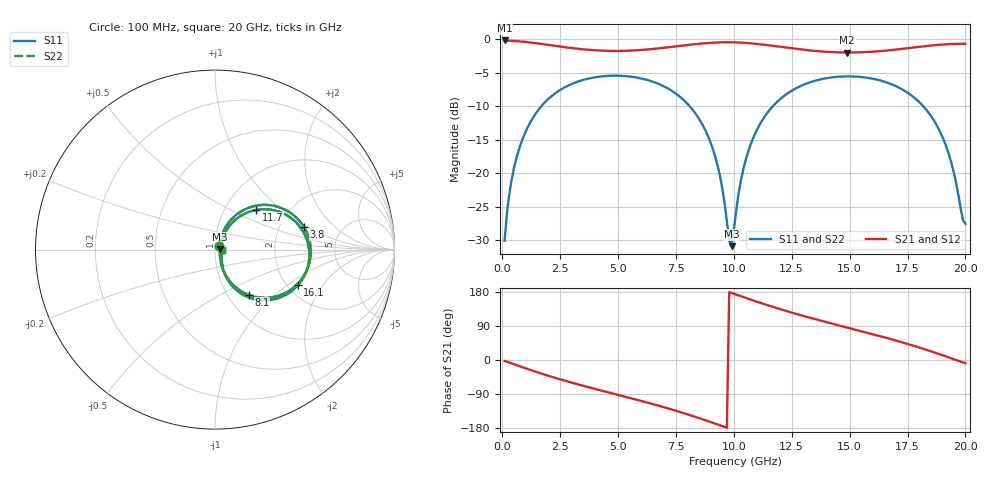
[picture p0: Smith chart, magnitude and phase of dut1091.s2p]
! Touchstone file exported from HFSS 2026.1.0
!  File:  C:/ffzhzh/LocalFiles/Ansys_Project_Files/temp_train_TSV_RDL_1091_1783301936_38704.aedt
!  Generated:  09:52:33 AM Jul  6, 2026
!  Design:  TSV_RDL
!  Project:  temp_train_TSV_RDL_1091_1783301936_38704
! Variables:
!  h_bsmrdl = 5.65um
!  h_ox = 20um
!  h_rdl = 5um
!  h_sub = 53.75um
!  h_tmrdl = 3.99um
!  h_tsv = 53.75um
!  h_via = 3um
!  l_bsmrdl = 973.44um
!  l_sub = 6571.57um
!  l_tmrdl = 778.95um
!  m_sub = 200um
!  pitch = 51.23um
!  r_tsv = 14.46um
!  s_tmrdl = 10um
!  w_bsmrdl = 16.61um
!  w_sub = 500um
!  w_tmrdl = 28.54um
!  x_tsv_center1 = 793.22um
!  x_tsv_center2 = 1783.27um
!  x_tsv_center3 = 2590.76um
!  x_tsv_center4 = 3580.81um
!  x_tsv_center5 = 4388.3um
!  x_tsv_center6 = 5378.35um
# GHz S MA R 50.000000
! Terminal data exported
! Port[1] = TM_RDL1_1_T1
! Port[2] = TM_RDL5_1_T1
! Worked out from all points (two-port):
!   200 points, 100 MHz to 20 GHz, reference 50 ohm
!   highest |S21| = -0.19 dB at 100 MHz (marker M1); lowest = -2.0 dB at 14.9 GHz (marker M2)
!   |S21| within 3 dB of the highest: start of sweep to end of sweep
!   lowest |S11| = -30.9 dB at 9.9 GHz (marker M3), VSWR 1.06, Z = 52.9 + j0.321 ohm
!   |S11| at or under -10 dB: start of sweep to 1.691 GHz; 8.088 GHz to 11.69 GHz (3.599 GHz wide, 36.4 % of centre); 18.18 GHz to end of sweep
!   |S22| runs from -30.8 to -5.5 dB; largest |S21 - S12| = 1.7e-14
!   S11 on the Smith chart (normalised r, x): 100 MHz: 1.04, +0.05; 3.8 GHz: 2.73, +0.93; 8.1 GHz: 1.25, -0.70; 11.7 GHz: 1.40, +0.69; 16.1 GHz: 2.27, -1.21; 20 GHz: 1.09, -0.01
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0.1  0.03125 44.1  0.9782 -2.3  0.9782 -2.3  0.03125 44.1
! Gamma 0 0 0 0
! Port Impedance 50 0 50 0
0.3  0.06908 63.0  0.974 -6.8  0.974 -6.8  0.06908 63.0
0.5  0.108 65.4  0.9694 -11.1  0.9694 -11.1  0.108 65.4
1.1  0.2202 59.2  0.9491 -23.9  0.9491 -23.9  0.2202 59.2
2.1  0.372 42.1  0.9005 -43.7  0.9005 -43.7  0.372 42.1
3.5  0.4967 18.9  0.8397 -68.2  0.8397 -68.2  0.4967 18.9
3.8  0.5113 14.2  0.8311 -73.1  0.8311 -73.1  0.5113 14.2
5.3  0.5302 -8.5  0.8188 -96.8  0.8188 -96.8  0.5302 -8.4
6.8  0.4596 -31.7  0.8552 -121.4  0.8552 -121.4  0.4596 -31.7
8.1  0.3146 -53.4  0.9091 -145.4  0.9091 -145.4  0.3146 -53.3
9.2  0.132 -68.2  0.9436 -168.0  0.9436 -168.0  0.132 -68.0
9.9  0.02847 6.1  0.9477 177.0  0.9477 177.0  0.02878 6.1
10.1  0.0523 48.6  0.9458 172.7  0.9458 172.7  0.05249 48.3
10.7  0.1591 58.4  0.932 160.0  0.932 160.0  0.1592 58.3
11.7  0.318 44.0  0.8912 139.8  0.8912 139.8  0.318 44.0
13.4  0.4832 16.7  0.8199 109.6  0.8199 109.6  0.4833 16.8
14.9  0.5274 -5.6  0.7951 85.7  0.7951 85.7  0.5275 -5.6
16.1  0.5023 -23.4  0.8087 66.6  0.8087 66.6  0.5024 -23.3
16.7  0.4686 -32.5  0.8256 56.6  0.8256 56.6  0.4687 -32.5
18.8  0.2213 -64.8  0.906 17.0  0.906 17.0  0.2214 -64.7
19.4  0.1182 -67.3  0.9203 4.4  0.9203 4.4  0.1183 -67.2
20  0.04175 -5.6  0.9237 -8.6  0.9237 -8.6  0.0418 -5.5
